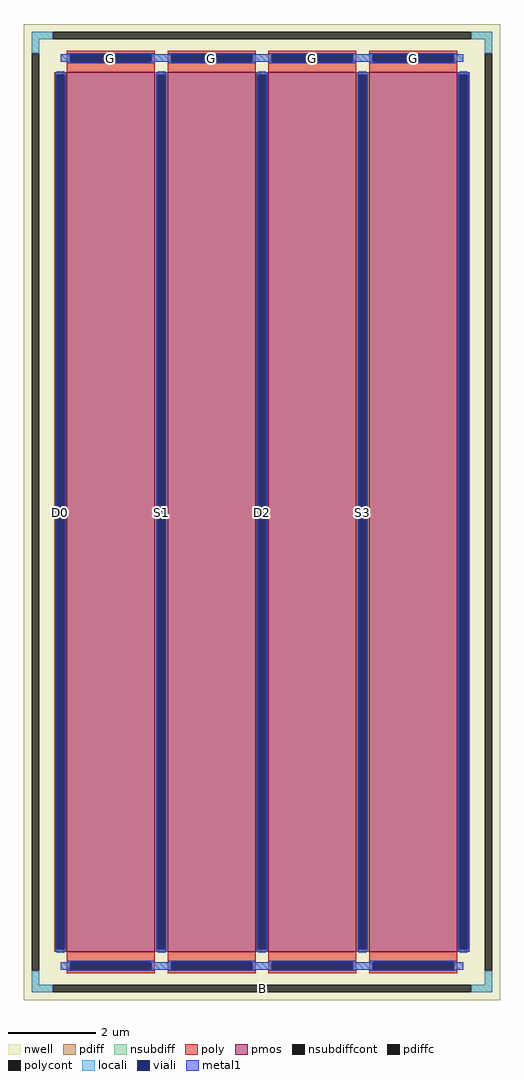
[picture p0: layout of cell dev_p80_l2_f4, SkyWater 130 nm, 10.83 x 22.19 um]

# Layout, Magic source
magic
tech sky130A
magscale 1 2
<< nwell >>
rect -1083 -2219 1083 2219
<< pmos >>
rect -887 -2000 -487 2000
rect -429 -2000 -29 2000
rect 29 -2000 429 2000
rect 487 -2000 887 2000
<< pdiff >>
rect -945 1988 -887 2000
rect -945 -1988 -933 1988
rect -899 -1988 -887 1988
rect -945 -2000 -887 -1988
rect -487 1988 -429 2000
rect -487 -1988 -475 1988
rect -441 -1988 -429 1988
rect -487 -2000 -429 -1988
rect -29 1988 29 2000
rect -29 -1988 -17 1988
rect 17 -1988 29 1988
rect -29 -2000 29 -1988
rect 429 1988 487 2000
rect 429 -1988 441 1988
rect 475 -1988 487 1988
rect 429 -2000 487 -1988
rect 887 1988 945 2000
rect 887 -1988 899 1988
rect 933 -1988 945 1988
rect 887 -2000 945 -1988
<< pdiffc >>
rect -933 -1988 -899 1988
rect -475 -1988 -441 1988
rect -17 -1988 17 1988
rect 441 -1988 475 1988
rect 899 -1988 933 1988
<< nsubdiff >>
rect -1047 2149 -951 2183
rect 951 2149 1047 2183
rect -1047 2087 -1013 2149
rect 1013 2087 1047 2149
rect -1047 -2149 -1013 -2087
rect 1013 -2149 1047 -2087
rect -1047 -2183 -951 -2149
rect 951 -2183 1047 -2149
<< nsubdiffcont >>
rect -951 2149 951 2183
rect -1047 -2087 -1013 2087
rect 1013 -2087 1047 2087
rect -951 -2183 951 -2149
<< poly >>
rect -887 2081 -487 2097
rect -887 2047 -871 2081
rect -503 2047 -487 2081
rect -887 2000 -487 2047
rect -429 2081 -29 2097
rect -429 2047 -413 2081
rect -45 2047 -29 2081
rect -429 2000 -29 2047
rect 29 2081 429 2097
rect 29 2047 45 2081
rect 413 2047 429 2081
rect 29 2000 429 2047
rect 487 2081 887 2097
rect 487 2047 503 2081
rect 871 2047 887 2081
rect 487 2000 887 2047
rect -887 -2047 -487 -2000
rect -887 -2081 -871 -2047
rect -503 -2081 -487 -2047
rect -887 -2097 -487 -2081
rect -429 -2047 -29 -2000
rect -429 -2081 -413 -2047
rect -45 -2081 -29 -2047
rect -429 -2097 -29 -2081
rect 29 -2047 429 -2000
rect 29 -2081 45 -2047
rect 413 -2081 429 -2047
rect 29 -2097 429 -2081
rect 487 -2047 887 -2000
rect 487 -2081 503 -2047
rect 871 -2081 887 -2047
rect 487 -2097 887 -2081
<< polycont >>
rect -871 2047 -503 2081
rect -413 2047 -45 2081
rect 45 2047 413 2081
rect 503 2047 871 2081
rect -871 -2081 -503 -2047
rect -413 -2081 -45 -2047
rect 45 -2081 413 -2047
rect 503 -2081 871 -2047
<< locali >>
rect -1047 2149 -951 2183
rect 951 2149 1047 2183
rect -1047 2087 -1013 2149
rect 1013 2087 1047 2149
rect -916 2047 -871 2081
rect -503 2047 -413 2081
rect -45 2047 45 2081
rect 413 2047 503 2081
rect 871 2047 916 2081
rect -933 1988 -899 2004
rect -933 -2004 -899 -1988
rect -475 1988 -441 2004
rect -475 -2004 -441 -1988
rect -17 1988 17 2004
rect -17 -2004 17 -1988
rect 441 1988 475 2004
rect 441 -2004 475 -1988
rect 899 1988 933 2004
rect 899 -2004 933 -1988
rect -916 -2081 -871 -2047
rect -503 -2081 -413 -2047
rect -45 -2081 45 -2047
rect 413 -2081 503 -2047
rect 871 -2081 916 -2047
rect -1047 -2149 -1013 -2087
rect 1013 -2149 1047 -2087
rect -1047 -2183 -951 -2149
rect 951 -2183 1047 -2149
<< viali >>
rect -871 2047 -503 2081
rect -413 2047 -45 2081
rect 45 2047 413 2081
rect 503 2047 871 2081
rect -933 -1988 -899 1988
rect -475 -1988 -441 1988
rect -17 -1988 17 1988
rect 441 -1988 475 1988
rect 899 -1988 933 1988
rect -871 -2081 -503 -2047
rect -413 -2081 -45 -2047
rect 45 -2081 413 -2047
rect 503 -2081 871 -2047
<< metal1 >>
rect -883 2081 -491 2087
rect -425 2081 -33 2087
rect 33 2081 425 2087
rect 491 2081 883 2087
rect -916 2047 -871 2081
rect -503 2047 -413 2081
rect -45 2047 45 2081
rect 413 2047 503 2081
rect 871 2047 916 2081
rect -883 2041 -491 2047
rect -425 2041 -33 2047
rect 33 2041 425 2047
rect 491 2041 883 2047
rect -939 1988 -893 2000
rect -939 -1988 -933 1988
rect -899 -1988 -893 1988
rect -939 -2000 -893 -1988
rect -481 1988 -435 2000
rect -481 -1988 -475 1988
rect -441 -1988 -435 1988
rect -481 -2000 -435 -1988
rect -23 1988 23 2000
rect -23 -1988 -17 1988
rect 17 -1988 23 1988
rect -23 -2000 23 -1988
rect 435 1988 481 2000
rect 435 -1988 441 1988
rect 475 -1988 481 1988
rect 435 -2000 481 -1988
rect 893 1988 939 2000
rect 893 -1988 899 1988
rect 933 -1988 939 1988
rect 893 -2000 939 -1988
rect -883 -2047 -491 -2041
rect -425 -2047 -33 -2041
rect 33 -2047 425 -2041
rect 491 -2047 883 -2041
rect -916 -2081 -871 -2047
rect -503 -2081 -413 -2047
rect -45 -2081 45 -2047
rect 413 -2081 503 -2047
rect 871 -2081 916 -2047
rect -883 -2087 -491 -2081
rect -425 -2087 -33 -2081
rect 33 -2087 425 -2081
rect 491 -2087 883 -2081
<< labels >>
rlabel nsubdiffcont 0 -2166 0 -2166 0 B
port 1 nsew
rlabel pdiffc -916 0 -916 0 0 D0
port 2 nsew
rlabel polycont -687 2064 -687 2064 0 G
port 3 nsew
rlabel pdiffc -458 0 -458 0 0 S1
port 4 nsew
rlabel polycont -229 2064 -229 2064 0 G
port 3 nsew
rlabel pdiffc 0 0 0 0 0 D2
port 5 nsew
rlabel polycont 229 2064 229 2064 0 G
port 3 nsew
rlabel pdiffc 458 0 458 0 0 S3
port 6 nsew
rlabel polycont 687 2064 687 2064 0 G
port 3 nsew
<< properties >>
string FIXED_BBOX -1030 -2166 1030 2166
<< end >>
